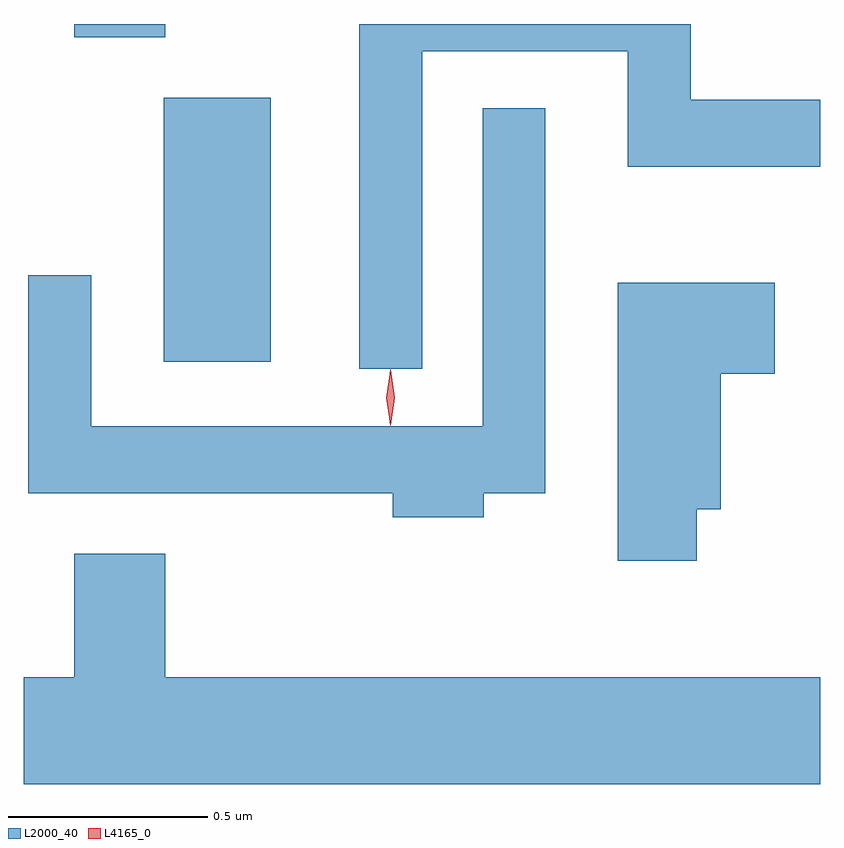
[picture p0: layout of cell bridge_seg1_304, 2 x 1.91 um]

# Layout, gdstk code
import gdstk
lib = gdstk.Library(unit=1e-6, precision=1e-09)
def R(c, l, rs):  # rectangles x0, y0, x1, y1
    for r in rs: c.add(gdstk.rectangle(r[:2], r[2:], *l))
def P(c, l, *ps):  # polygons
    for p in ps: c.add(gdstk.Polygon(p, *l))
L2000_40 = (2000, 40)
L4165_0 = (4165, 0)

bridge_seg1_304 = lib.new_cell('bridge_seg1_304')
R(bridge_seg1_304, L2000_40, [(888.296,873.996,888.564,874.659), (888.071,874.811,888.299,874.844)])
P(bridge_seg1_304, L2000_40, [(888.944,874.776),(889.461,874.776),(889.461,874.486),(889.944,874.486),(889.944,874.654),(889.619,874.654),(889.619,874.844),(888.786,874.844),(888.786,873.978),(888.944,873.978)],
  [(889.099,873.666),(889.254,873.666),(889.254,874.633),(889.096,874.633),(889.096,873.834),(888.114,873.834),(888.114,874.213),(887.956,874.213),(887.956,873.666),(888.871,873.666),(888.871,873.606),(889.099,873.606)],
  [(889.634,873.626),(889.694,873.626),(889.694,873.966),(889.829,873.966),(889.829,874.194),(889.436,874.194),(889.436,873.496),(889.634,873.496)],
  [(889.944,873.204),(888.299,873.204),(888.299,873.514),(888.071,873.514),(888.071,873.204),(887.944,873.204),(887.944,872.936),(889.944,872.936)])
P(bridge_seg1_304, L4165_0, [(888.864,873.837),(888.855,873.906),(888.864,873.976),(888.865,873.976),(888.865,873.976),(888.875,873.906),(888.865,873.837),(888.865,873.837)],
  [(888.864,873.839),(888.864,873.84),(888.854,873.906),(888.864,873.972),(888.864,873.973),(888.865,873.972),(888.874,873.906),(888.865,873.84)])

lib.write_gds('bridge_seg1_304.gds')
